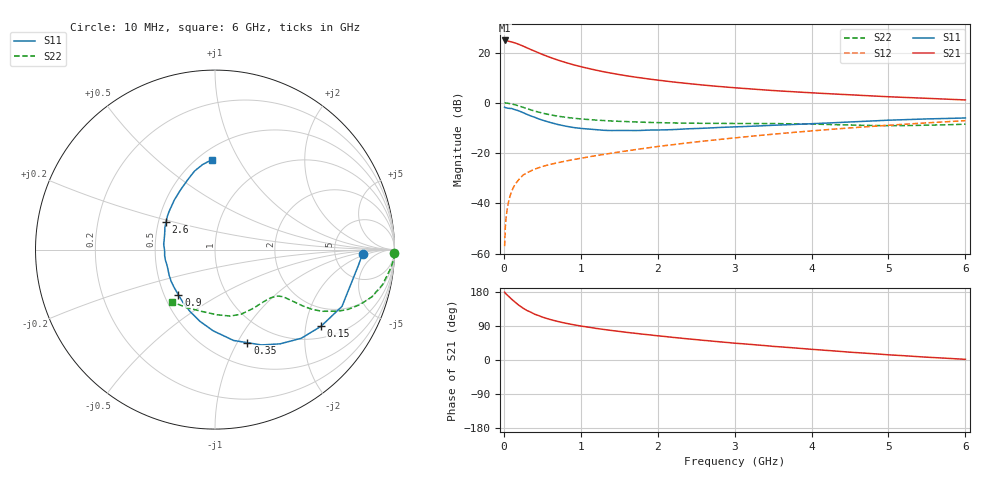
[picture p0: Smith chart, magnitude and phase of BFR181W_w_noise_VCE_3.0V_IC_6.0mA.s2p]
! (c) 2017  Infineon Technologies AG, Munich
! Infineon Technologies  Discrete & RF Semiconductors
! BFR181W
! VCE =  3.0 V,  IC =  6.0 mA
! Common Emitter S-Parameters:  Jan 2017
# GHz  S  MA  R  50
!  f  S11  S21  S12  S22
! GHz  MAG  ANG  MAG  ANG  MAG  ANG  MAG  ANG
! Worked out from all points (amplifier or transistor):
!   77 points, 10 MHz to 6 GHz, reference 50 ohm
!   highest |S21| = 24.9 dB at 10 MHz (marker M1)
!   |S21| within 3 dB of that: start of sweep to 304.5 MHz
!   unconditionally stable (mu >= 1): 1.219 GHz to 3.27 GHz
!   at 130 MHz: K = 0.18, MSG = 28.7 dB, |S12| = -33.4 dB
!   at 2.2 GHz: K = 1.08, MAG = 10.8 dB, |S12| = -16.6 dB
!   at 6 GHz: K = 0.85, MSG = 4.1 dB, |S12| = -7.1 dB
!   lowest NFmin = 1.03 dB at 450 MHz
!   S11 on the Smith chart (normalised r, x): 10 MHz: 10, -1; 150 MHz: 1.34, -2.44; 350 MHz: 0.74, -1.10; 900 MHz: 0.59, -0.33; 2.6 GHz: 0.55, +0.19; 6 GHz: 0.58, +0.78
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0.01  0.8228 -1.6  17.5 178.9  0.0014 79.9  0.9962 -1.2
0.02  0.804 -6.2  17.3 175.9  0.0035 88.9  1 -2.3
0.04  0.791 -10.0  17.12 172.2  0.007 82.2  0.9895 -4.8
0.1  0.775 -24.1  16.4 160.6  0.0171 79.4  0.9538 -11.8
0.15  0.729 -35.9  15.56 152.0  0.0244 73.2  0.9126 -16.8
0.2  0.6891 -45.8  14.53 143.8  0.0303 68.1  0.8634 -20.8
0.25  0.638 -55.4  13.52 136.8  0.0364 65.1  0.8145 -24.1
0.3  0.591 -64.0  12.48 130.7  0.0404 61.9  0.7666 -26.6
0.35  0.5493 -70.8  11.56 126.2  0.0441 60.2  0.7267 -28.2
0.4  0.5165 -78.5  10.72 120.9  0.0478 58.8  0.6874 -30.0
0.5  0.4531 -91.2  9.226 113.3  0.054 57.1  0.6264 -31.8
0.6  0.4083 -101.9  8.072 107.0  0.0595 56.7  0.5795 -32.7
0.7  0.3718 -112.0  7.129 101.8  0.0641 56.9  0.544 -33.2
0.9  0.3238 -129.1  5.767 93.3  0.074 58.0  0.4964 -34.0
1.1  0.3014 -144.3  4.844 86.6  0.0839 59.5  0.4659 -34.6
1.5  0.2826 -168.1  3.662 75.4  0.1052 61.4  0.4288 -37.3
2.1  0.2904 166.2  2.722 61.9  0.1412 62.7  0.4012 -44.8
2.6  0.3126 150.8  2.257 51.8  0.1733 62.2  0.3915 -53.0
3.1  0.3367 137.9  1.95 42.9  0.208 60.6  0.3881 -61.5
4.1  0.3904 118.1  1.557 26.8  0.2844 55.2  0.3752 -79.4
5.1  0.4571 103.3  1.305 12.5  0.3664 47.4  0.352 -104.9
6  0.5004 92.1  1.144 1.7  0.4421 39.0  0.3766 -129.6
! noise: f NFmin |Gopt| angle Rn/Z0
0.45  1.03  0.28  16  0.22
0.9  1.07  0.26  30  0.22
1.9  1.49  0.12  82  0.19
2.4  1.65  0.1  95  0.23
